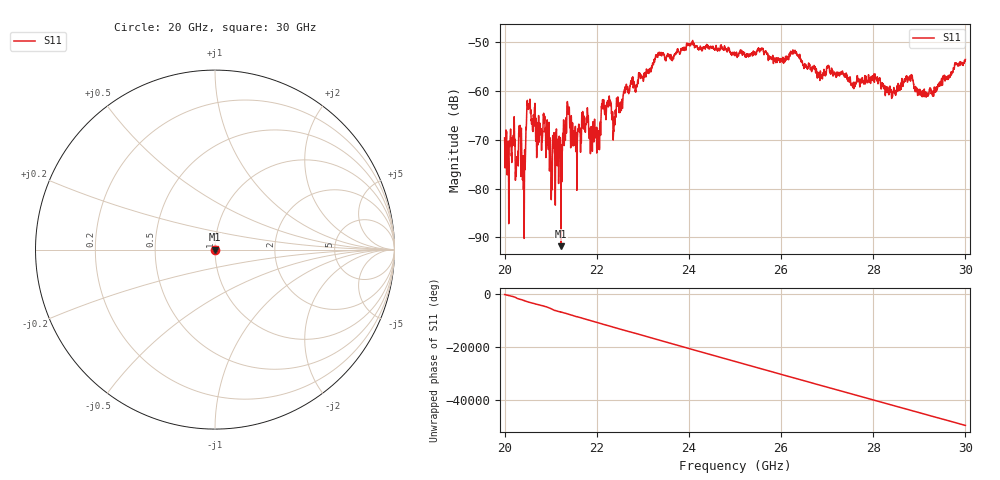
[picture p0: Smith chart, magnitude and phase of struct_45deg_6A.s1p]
#  HZ  S  RI  R  50.00
! Rohde & Schwarz ZVA40 4Ports - Version 3.90 - 1145.1110k42 SN: 100403
! Date: 2023-09-30 09:07:36
! Measurement: S12
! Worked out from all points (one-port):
!   5001 points, 20 GHz to 30 GHz, reference 50 ohm
!   lowest |S11| = -91.8 dB at 21.22 GHz (marker M1), VSWR 1.00, Z = 50 + j0.00255 ohm
!   |S11| at or under -10 dB: start of sweep to end of sweep
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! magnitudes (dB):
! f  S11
! 20 GHz  -69.6
! 20.05 GHz  -76.0
! 20.17 GHz  -70.0
! 20.26 GHz  -74.4
! 20.33 GHz  -69.3
! 20.4 GHz  -74.9
! 20.53 GHz  -63.2
! 20.72 GHz  -70.5
! 20.88 GHz  -68.4
! 20.99 GHz  -69.7
! 21.22 GHz  -91.8
! 21.25 GHz  -71.6
! 21.37 GHz  -63.5
! 21.53 GHz  -67.4
! 21.77 GHz  -66.8
! 22.01 GHz  -67.6
! 22.14 GHz  -62.4
! 22.37 GHz  -68.2
! 22.5 GHz  -63.3
! 23.32 GHz  -53.1
! 23.75 GHz  -51.4
! 25 GHz  -52.7
! 26.25 GHz  -51.8
! 27.5 GHz  -57.2
! 28.44 GHz  -59.6
! 28.75 GHz  -57.3
! 29.16 GHz  -60.5
! 30 GHz  -53.5
